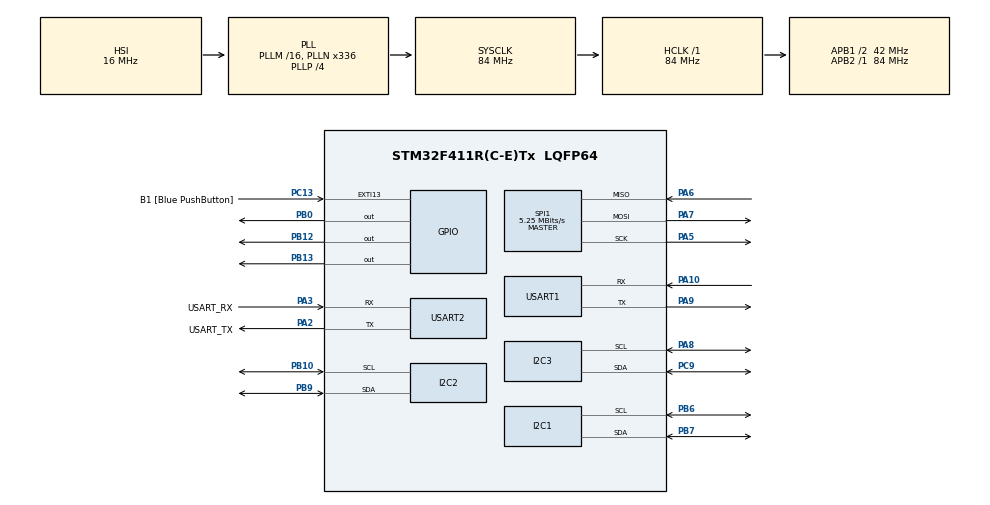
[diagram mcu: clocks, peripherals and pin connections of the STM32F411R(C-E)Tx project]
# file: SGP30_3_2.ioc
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Mcu.Family=STM32F4
Mcu.Name=STM32F411R(C-E)Tx
Mcu.Package=LQFP64
NVIC.PriorityGroup=NVIC_PRIORITYGROUP_0
NVIC.USART1_IRQn=true\:0\:0\:false\:false\:true\:true\:true\:true
PA10.Mode=Asynchronous
PA10.Signal=USART1_RX
PA13.GPIO_Label=TMS
PA13.Mode=Serial_Wire
PA13.Signal=SYS_JTMS-SWDIO
PA14.GPIO_Label=TCK
PA14.Mode=Serial_Wire
PA14.Signal=SYS_JTCK-SWCLK
PA2.GPIO_Label=USART_TX
PA2.Mode=Asynchronous
PA2.Signal=USART2_TX
PA3.GPIO_Label=USART_RX
PA3.Mode=Asynchronous
PA3.Signal=USART2_RX
PA5.Mode=Full_Duplex_Master
PA5.Signal=SPI1_SCK
PA6.Mode=Full_Duplex_Master
PA6.Signal=SPI1_MISO
PA7.Mode=Full_Duplex_Master
PA7.Signal=SPI1_MOSI
PA8.Mode=I2C
PA8.Signal=I2C3_SCL
PA9.Mode=Asynchronous
PA9.Signal=USART1_TX
PB0.Signal=GPIO_Output
PB10.Mode=I2C
PB10.Signal=I2C2_SCL
PB12.PinState=GPIO_PIN_SET
PB12.Signal=GPIO_Output
PB13.PinState=GPIO_PIN_SET
PB13.Signal=GPIO_Output
PB6.Mode=I2C
PB6.Signal=I2C1_SCL
PB7.Mode=I2C
PB7.Signal=I2C1_SDA
PB9.Mode=I2C
PB9.Signal=I2C2_SDA
PC13-ANTI_TAMP.GPIO_Label=B1 [Blue PushButton]
PC13-ANTI_TAMP.GPIO_ModeDefaultEXTI=GPIO_MODE_IT_FALLING
PC13-ANTI_TAMP.Signal=GPXTI13
PC14-OSC32_IN.Mode=LSE-External-Oscillator
PC14-OSC32_IN.Signal=RCC_OSC32_IN
PC15-OSC32_OUT.Mode=LSE-External-Oscillator
PC15-OSC32_OUT.Signal=RCC_OSC32_OUT
PC9.Mode=I2C
PC9.Signal=I2C3_SDA
PH0\ -\ OSC_IN.Mode=HSE-External-Clock-Source
PH0\ -\ OSC_IN.Signal=RCC_OSC_IN
PH1\ -\ OSC_OUT.Mode=HSE-External-Clock-Source
PH1\ -\ OSC_OUT.Signal=RCC_OSC_OUT
ProjectManager.HeapSize=0x200
ProjectManager.StackSize=0x400
ProjectManager.TargetToolchain=STM32CubeIDE
RCC.48MHZClocksFreq_Value=84000000
RCC.AHBFreq_Value=84000000
RCC.APB1CLKDivider=RCC_HCLK_DIV2
RCC.APB1Freq_Value=42000000
RCC.APB1TimFreq_Value=84000000
RCC.APB2Freq_Value=84000000
RCC.APB2TimFreq_Value=84000000
RCC.CortexFreq_Value=84000000
RCC.FLatency-AdvancedSettings=FLASH_LATENCY_2
RCC.HCLKFreq_Value=84000000
RCC.HSE_VALUE=8000000
RCC.HSI_VALUE=16000000
RCC.PLLN=336
RCC.PLLP=RCC_PLLP_DIV4
RCC.SYSCLKFreq_VALUE=84000000
RCC.SYSCLKSource=RCC_SYSCLKSOURCE_PLLCLK
RCC.VCOOutputFreq_Value=336000000
SPI1.BaudRatePrescaler=SPI_BAUDRATEPRESCALER_16
SPI1.CalculateBaudRate=5.25 MBits/s
SPI1.Direction=SPI_DIRECTION_2LINES
SPI1.Mode=SPI_MODE_MASTER
SPI1.VirtualType=VM_MASTER
USART1.VirtualMode=VM_ASYNC
USART2.VirtualMode=VM_ASYNC
board=NUCLEO-F411RE

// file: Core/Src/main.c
/* USER CODE BEGIN Header */
/**
  ******************************************************************************
  * @file           : main.c
  * @brief          : SGP30 x3 (3개의 독립 I2C 비트뱅) 테스트
  ******************************************************************************
  * @attention
  *
  * Copyright (c) 2026 STMicroelectronics.
  * All rights reserved.
  *
  * This software is licensed under terms that can be found in the LICENSE file
  * in the root directory of this software component.
  * If no LICENSE file comes with this software, it is provided AS-IS.
  *
  ******************************************************************************  *
  * - SGP30는 I2C 주소가 모두 0x58로 동일
  *  - 한 버스에 여러개 불가 → GPIO I2C 라인을 3세트로 분리해서 각 1개씩 연결
  *
  *  UART2로 출력(PC Serial)
  *
  * 핀맵(사용자 지정)
  *  SGP30 #1 : SCL=PB6,  SDA=PB7
  *  SGP30 #2 : SCL=PB10, SDA=PB3
  *  SGP30 #3 : SCL=PA8,  SDA=PC9
  *
  * CubeMX 주의:
  *  - PB3는 SWO랑 충돌 가능 → SYS->Debug는 Serial Wire만(Trace 끄기)
  ******************************************************************************  ******************************************************************************
  */
/* USER CODE END Header */
#include "main.h"

/* USER CODE BEGIN Includes */
#include <stdio.h>
#include <string.h>
#include "sensirion_common.h"
#include "sgp30.h"
#include "RC522.h"

/* USER CODE END Includes */

/* USER CODE BEGIN PTD */
typedef struct {
  GPIO_TypeDef* scl_port;
  uint16_t      scl_pin;
  GPIO_TypeDef* sda_port;
  uint16_t      sda_pin;
} SoftI2C;

/* USER CODE END PTD */

/* USER CODE BEGIN PD */
#ifndef STATUS_OK
#define STATUS_OK 0
#endif

#ifndef STATUS_FAIL
#define STATUS_FAIL (-1)
#endif

/* SGP30 7-bit 주소 */
#define SGP30_ADDR_7BIT  (0x58)

/* I2C 속도(대략) 조절 */
#define I2C_DELAY_US     (5)   // 5us 정도면 대략 100kHz 근처(환경에 따라 다름)
#define SGP_INTERVAL     1000

/* [릴레이 핀 설정] */
#define RELAY_GPIO_PORT GPIOB
#define RELAY_GPIO_PIN  GPIO_PIN_0
#define RELAY_ACTIVE_LOW 1
/* USER CODE END PD */

I2C_HandleTypeDef hi2c1;
I2C_HandleTypeDef hi2c2;
I2C_HandleTypeDef hi2c3;

SPI_HandleTypeDef hspi1;

UART_HandleTypeDef huart1;
UART_HandleTypeDef huart2;

/* USER CODE BEGIN PV */

/* RFID용 변수 (사용자 정의 유지) */
uint8_t status;
uint8_t str[16]; // MAX_LEN
uint8_t sNum[5];

/* SGP30 타이머 변수 */
static uint32_t last_sgp_time = 0;

/* [릴레이/알람용 변수 추가] */
typedef enum { ALARM_OFF=0, ALARM_WARNING, ALARM_CRITICAL } AlarmLevel;
static volatile AlarmLevel g_alarm = ALARM_OFF;
static volatile uint32_t g_hold_until = 0;

/* [UART 수신 버퍼 추가] */
static uint8_t rx_ch;
static char rx_line[256];
static volatile uint16_t rx_idx = 0;
/* USER CODE END PV */

void SystemClock_Config(void);
static void MX_GPIO_Init(void);
static void MX_USART2_UART_Init(void);
static void MX_I2C1_Init(void);
static void MX_USART1_UART_Init(void);
static void MX_I2C3_Init(void);
static void MX_I2C2_Init(void);
static void MX_SPI1_Init(void);
/* USER CODE BEGIN PFP */
extern void i2c_select_bus(uint8_t bus_id);
static void esp_send_line(const char *s);
extern int8_t sensirion_i2c_init(void);

/* [릴레이 함수 선언] */
static void relay_on(void);
static void relay_off(void);
static void alarm_set(AlarmLevel lv, uint32_t hold_ms);
static void alarm_update(void);
static void handle_alert_json_line(const char* line);

/* USER CODE END PFP */

/* USER CODE BEGIN 0 */
static void send_access_request_uart1(uint8_t *uid)
{
    char payload[128];
    sprintf(payload, "{\"uid\":[%d,%d,%d,%d],\"access_point\":\"ew1\"}\n",
            uid[0], uid[1], uid[2], uid[3]);
    HAL_UART_Transmit(&huart1, (uint8_t *)payload, strlen(payload), 100);
}

static void send_env_data_uart1(int zone, uint16_t tvoc, uint16_t eco2)
{
    char payload[128];
    sprintf(payload, "{\"type\":\"sgp\",\"zone\":\"zone_%d\",\"tvoc\":%u,\"eco2\":%u}\n",
            zone, tvoc, eco2);
    HAL_UART_Transmit(&huart1, (uint8_t *)payload, strlen(payload), 100);
}
/* USER CODE END 0 */

int main(void)
{

  /* MCU Configuration--------------------------------------------------------*/

  /* Reset of all peripherals, Initializes the Flash interface and the Systick. */
  HAL_Init();

  /* Configure the system clock */
  SystemClock_Config();

  /* Initialize all configured peripherals */
  MX_GPIO_Init();
  MX_USART2_UART_Init();
  MX_I2C1_Init();
  MX_USART1_UART_Init();
  MX_I2C3_Init();
  MX_I2C2_Init();
  MX_SPI1_Init();
  /* USER CODE BEGIN 2 */

  // 1. [릴레이 초기화 및 부팅 테스트]
    relay_off();
    // UART 수신 인터럽트 시작 (ESP8266 -> STM32 알람 수신용)
    HAL_UART_Receive_IT(&huart1, &rx_ch, 1);

    // 부팅 확인용 깜빡임 (0.5초)
    relay_on();
    HAL_Delay(500);
    relay_off();

//  uint8_t ver = Read_MFRC522(0x37);
//    printf("RC522 Version: 0x%02X (Expected: 0x92 or 0x91)\r\n", ver);
  printf("\r\n=== Board #2 Start ===\r\n");

  MFRC522_Init();
  printf("RC522 Initialized.\r\n");

  sensirion_i2c_init();
  for(uint8_t i=1; i<=3; i++) {
        printf("Init SGP30 #%d ... ", i);
        i2c_select_bus(i);
        HAL_Delay(50);

        if (sgp_probe() == STATUS_OK) {
            if (sgp_iaq_init() == STATUS_OK) printf("OK!\r\n");
            else printf("Init Fail\r\n");
        } else {
            printf("Not Found\r\n");
        }
        HAL_Delay(500);
  }
  last_sgp_time = HAL_GetTick();
  char buf[64];
  /* USER CODE END 2 */

  /* Infinite loop */
  /* USER CODE BEGIN WHILE */
  while (1)
  {
	  // ==========================================
	      // TASK 0: 릴레이(경광등) 패턴 업데이트 [추가됨]
	      // ==========================================
	      alarm_update();

	  // ========================================================
		// [PART 1] RFID 카드 인식 (기존 로직 유지)
		// ========================================================
		// 1) 카드 요청
		status = MFRC522_Request(PICC_REQIDL, str);
		if (status == MI_OK) {
			// 2) 충돌 방지 및 UID 추출
			status = MFRC522_Anticoll(str);
			if (status == MI_OK) {

				// UID 가져오기
				uint8_t u0 = str[0], u1 = str[1], u2 = str[2], u3 = str[3];

				// 3) 같은 카드 연속 인식 방지 (쿨다운 1.5초)
				static uint8_t last_uid4[4] = {0};
				static uint32_t last_rfid_tick = 0;
				uint32_t now = HAL_GetTick();

				int same = (memcmp(str, last_uid4, 4) == 0);
				if (!same || (now - last_rfid_tick) > 1500) {

					// 새로운 카드거나 쿨다운 지남 -> 전송
					memcpy(last_uid4, str, 4);
					last_rfid_tick = now;

					// PC 출력
					printf("[RFID] UID: %d %d %d %d\r\n", u0, u1, u2, u3);

					// ESP 전송 (JSON)
					char payload[128];
					sprintf(payload, "{\"uid\":[%d,%d,%d,%d],\"access_point\":\"ew1\"}\n", u0, u1, u2, u3);
					esp_send_line(payload);
				}
			}
		}

		// ========================================================
		// [PART 2] SGP30 가스 센서 (1초 주기 실행)
		// ========================================================
		if (HAL_GetTick() - last_sgp_time >= SGP_INTERVAL) {
			last_sgp_time = HAL_GetTick();

			u16 tvoc, eco2;
			s16 err;
			char json[128];

			// 센서 1, 2, 3 순차 측정 (4~6이 아니라 1~3이 맞음)
			for(uint8_t i=1; i<=3; i++) {
				i2c_select_bus(i);

				err = sgp_measure_iaq_blocking_read(&tvoc, &eco2);

				if (err == STATUS_OK) {
					// PC 로그
					int zone_num = i+3;
					printf("[SGP #%d] TVOC: %d, eCO2: %d\r\n", zone_num, tvoc, eco2);

					// ESP 전송
					snprintf(json, sizeof(json),
							 "{\"type\":\"sgp\",\"zone\":\"zone_%d\",\"tvoc\":%u,\"eco2\":%u}",
							 zone_num, tvoc, eco2);
					esp_send_line(json);
				} else {
					printf("[SGP #%d] Read Error\r\n", i);
				}
				// 센서 스위칭 안정화 딜레이 (너무 길면 RFID 둔해짐)
				HAL_Delay(50);
			}
		}

		// 루프 전체 속도 조절 (너무 빠르면 과부하)
		HAL_Delay(10);
    /* USER CODE END WHILE */

  }
}

void SystemClock_Config(void)
{
  RCC_OscInitTypeDef RCC_OscInitStruct = {0};
  RCC_ClkInitTypeDef RCC_ClkInitStruct = {0};

  /** Configure the main internal regulator output voltage
  */
  __HAL_RCC_PWR_CLK_ENABLE();
  __HAL_PWR_VOLTAGESCALING_CONFIG(PWR_REGULATOR_VOLTAGE_SCALE1);

  /** Initializes the RCC Oscillators according to the specified parameters
  * in the RCC_OscInitTypeDef structure.
  */
  RCC_OscInitStruct.OscillatorType = RCC_OSCILLATORTYPE_HSI;
  RCC_OscInitStruct.HSIState = RCC_HSI_ON;
  RCC_OscInitStruct.HSICalibrationValue = RCC_HSICALIBRATION_DEFAULT;
  RCC_OscInitStruct.PLL.PLLState = RCC_PLL_ON;
  RCC_OscInitStruct.PLL.PLLSource = RCC_PLLSOURCE_HSI;
  RCC_OscInitStruct.PLL.PLLM = 16;
  RCC_OscInitStruct.PLL.PLLN = 336;
  RCC_OscInitStruct.PLL.PLLP = RCC_PLLP_DIV4;
  RCC_OscInitStruct.PLL.PLLQ = 4;
  if (HAL_RCC_OscConfig(&RCC_OscInitStruct) != HAL_OK)
  {
    Error_Handler();
  }

  /** Initializes the CPU, AHB and APB buses clocks
  */
  RCC_ClkInitStruct.ClockType = RCC_CLOCKTYPE_HCLK|RCC_CLOCKTYPE_SYSCLK
                              |RCC_CLOCKTYPE_PCLK1|RCC_CLOCKTYPE_PCLK2;
  RCC_ClkInitStruct.SYSCLKSource = RCC_SYSCLKSOURCE_PLLCLK;
  RCC_ClkInitStruct.AHBCLKDivider = RCC_SYSCLK_DIV1;
  RCC_ClkInitStruct.APB1CLKDivider = RCC_HCLK_DIV2;
  RCC_ClkInitStruct.APB2CLKDivider = RCC_HCLK_DIV1;

  if (HAL_RCC_ClockConfig(&RCC_ClkInitStruct, FLASH_LATENCY_2) != HAL_OK)
  {
    Error_Handler();
  }
}

static void MX_I2C1_Init(void)
{

  hi2c1.Instance = I2C1;
  hi2c1.Init.ClockSpeed = 100000;
  hi2c1.Init.DutyCycle = I2C_DUTYCYCLE_2;
  hi2c1.Init.OwnAddress1 = 0;
  hi2c1.Init.AddressingMode = I2C_ADDRESSINGMODE_7BIT;
  hi2c1.Init.DualAddressMode = I2C_DUALADDRESS_DISABLE;
  hi2c1.Init.OwnAddress2 = 0;
  hi2c1.Init.GeneralCallMode = I2C_GENERALCALL_DISABLE;
  hi2c1.Init.NoStretchMode = I2C_NOSTRETCH_DISABLE;
  if (HAL_I2C_Init(&hi2c1) != HAL_OK)
  {
    Error_Handler();
  }

}

static void MX_I2C2_Init(void)
{

  hi2c2.Instance = I2C2;
  hi2c2.Init.ClockSpeed = 100000;
  hi2c2.Init.DutyCycle = I2C_DUTYCYCLE_2;
  hi2c2.Init.OwnAddress1 = 0;
  hi2c2.Init.AddressingMode = I2C_ADDRESSINGMODE_7BIT;
  hi2c2.Init.DualAddressMode = I2C_DUALADDRESS_DISABLE;
  hi2c2.Init.OwnAddress2 = 0;
  hi2c2.Init.GeneralCallMode = I2C_GENERALCALL_DISABLE;
  hi2c2.Init.NoStretchMode = I2C_NOSTRETCH_DISABLE;
  if (HAL_I2C_Init(&hi2c2) != HAL_OK)
  {
    Error_Handler();
  }

}

static void MX_I2C3_Init(void)
{

  hi2c3.Instance = I2C3;
  hi2c3.Init.ClockSpeed = 100000;
  hi2c3.Init.DutyCycle = I2C_DUTYCYCLE_2;
  hi2c3.Init.OwnAddress1 = 0;
  hi2c3.Init.AddressingMode = I2C_ADDRESSINGMODE_7BIT;
  hi2c3.Init.DualAddressMode = I2C_DUALADDRESS_DISABLE;
  hi2c3.Init.OwnAddress2 = 0;
  hi2c3.Init.GeneralCallMode = I2C_GENERALCALL_DISABLE;
  hi2c3.Init.NoStretchMode = I2C_NOSTRETCH_DISABLE;
  if (HAL_I2C_Init(&hi2c3) != HAL_OK)
  {
    Error_Handler();
  }

}

static void MX_SPI1_Init(void)
{

  /* SPI1 parameter configuration*/
  hspi1.Instance = SPI1;
  hspi1.Init.Mode = SPI_MODE_MASTER;
  hspi1.Init.Direction = SPI_DIRECTION_2LINES;
  hspi1.Init.DataSize = SPI_DATASIZE_8BIT;
  hspi1.Init.CLKPolarity = SPI_POLARITY_LOW;
  hspi1.Init.CLKPhase = SPI_PHASE_1EDGE;
  hspi1.Init.NSS = SPI_NSS_SOFT;
  hspi1.Init.BaudRatePrescaler = SPI_BAUDRATEPRESCALER_16;
  hspi1.Init.FirstBit = SPI_FIRSTBIT_MSB;
  hspi1.Init.TIMode = SPI_TIMODE_DISABLE;
  hspi1.Init.CRCCalculation = SPI_CRCCALCULATION_DISABLE;
  hspi1.Init.CRCPolynomial = 10;
  if (HAL_SPI_Init(&hspi1) != HAL_OK)
  {
    Error_Handler();
  }

}

static void MX_USART1_UART_Init(void)
{

  huart1.Instance = USART1;
  huart1.Init.BaudRate = 115200;
  huart1.Init.WordLength = UART_WORDLENGTH_8B;
  huart1.Init.StopBits = UART_STOPBITS_1;
  huart1.Init.Parity = UART_PARITY_NONE;
  huart1.Init.Mode = UART_MODE_TX_RX;
  huart1.Init.HwFlowCtl = UART_HWCONTROL_NONE;
  huart1.Init.OverSampling = UART_OVERSAMPLING_16;
  if (HAL_UART_Init(&huart1) != HAL_OK)
  {
    Error_Handler();
  }

}

static void MX_USART2_UART_Init(void)
{

  huart2.Instance = USART2;
  huart2.Init.BaudRate = 115200;
  huart2.Init.WordLength = UART_WORDLENGTH_8B;
  huart2.Init.StopBits = UART_STOPBITS_1;
  huart2.Init.Parity = UART_PARITY_NONE;
  huart2.Init.Mode = UART_MODE_TX_RX;
  huart2.Init.HwFlowCtl = UART_HWCONTROL_NONE;
  huart2.Init.OverSampling = UART_OVERSAMPLING_16;
  if (HAL_UART_Init(&huart2) != HAL_OK)
  {
    Error_Handler();
  }
  /* USER CODE BEGIN USART2_Init 2 */
  HAL_NVIC_SetPriority(USART1_IRQn, 0, 0);
  HAL_NVIC_EnableIRQ(USART1_IRQn);
  /* USER CODE END USART2_Init 2 */

}

static void MX_GPIO_Init(void)
{
  GPIO_InitTypeDef GPIO_InitStruct = {0};

  /* GPIO Ports Clock Enable */
  __HAL_RCC_GPIOC_CLK_ENABLE();
  __HAL_RCC_GPIOH_CLK_ENABLE();
  __HAL_RCC_GPIOA_CLK_ENABLE();
  __HAL_RCC_GPIOB_CLK_ENABLE();

  /*Configure GPIO pin Output Level */
  HAL_GPIO_WritePin(GPIOB, GPIO_PIN_0, GPIO_PIN_RESET);

  /*Configure GPIO pin Output Level */
  HAL_GPIO_WritePin(GPIOB, GPIO_PIN_12|GPIO_PIN_13, GPIO_PIN_SET);

  /*Configure GPIO pin : B1_Pin */
  GPIO_InitStruct.Pin = B1_Pin;
  GPIO_InitStruct.Mode = GPIO_MODE_IT_FALLING;
  GPIO_InitStruct.Pull = GPIO_NOPULL;
  HAL_GPIO_Init(B1_GPIO_Port, &GPIO_InitStruct);

  /*Configure GPIO pins : PB0 PB12 PB13 */
  GPIO_InitStruct.Pin = GPIO_PIN_0|GPIO_PIN_12|GPIO_PIN_13;
  GPIO_InitStruct.Mode = GPIO_MODE_OUTPUT_PP;
  GPIO_InitStruct.Pull = GPIO_NOPULL;
  GPIO_InitStruct.Speed = GPIO_SPEED_FREQ_LOW;
  HAL_GPIO_Init(GPIOB, &GPIO_InitStruct);

}

/* USER CODE BEGIN 4 */
/* [추가] printf 출력을 UART2로 보내주는 함수 */
int _write(int file, char *ptr, int len)
{
  HAL_UART_Transmit(&huart2, (uint8_t*)ptr, len, 100);
  return len;
}

static void esp_send_line(const char *s)
{
    HAL_UART_Transmit(&huart1, (uint8_t*)s, strlen(s), 100);
    uint8_t nl = '\n';
    HAL_UART_Transmit(&huart1, &nl, 1, 10);
}
// [릴레이 제어 함수]
static void relay_on(void) {
    HAL_GPIO_WritePin(RELAY_GPIO_PORT, RELAY_GPIO_PIN, GPIO_PIN_SET);
}

static void relay_off(void) {
    HAL_GPIO_WritePin(RELAY_GPIO_PORT, RELAY_GPIO_PIN, GPIO_PIN_RESET);
}

// [알람 설정]
static void alarm_set(AlarmLevel lv, uint32_t hold_ms)
{
    uint32_t now = HAL_GetTick();
    if (lv >= g_alarm) {
        g_alarm = lv;
        g_hold_until = now + hold_ms;
    }
}

// [JSON 파싱]
static void handle_alert_json_line(const char* line)
{
    if (strstr(line, "critical")) {
        alarm_set(ALARM_CRITICAL, 10000);
    }
    else if (strstr(line, "warning")) {
        alarm_set(ALARM_WARNING, 10000);
    }
}

// [알람 업데이트]
static void alarm_update(void)
{
    uint32_t now = HAL_GetTick();

    // 시간 종료
    if (g_alarm != ALARM_OFF && (int32_t)(now - g_hold_until) > 0) {
        g_alarm = ALARM_OFF;
        relay_off();
        return;
    }

    // 알람 없음
    if (g_alarm == ALARM_OFF) {
        relay_off();
        return;
    }

    // 패턴 깜빡임
    if (g_alarm == ALARM_WARNING) {
        // 500ms 주기 (느리게)
        if ((now / 500) % 2 == 0) relay_on();
        else relay_off();
    } else { // CRITICAL
        // 100ms 주기 (빠르게)
        if ((now / 100) % 2 == 0) relay_on();
        else relay_off();
    }
}

// [UART 수신 인터럽트 콜백]
void HAL_UART_RxCpltCallback(UART_HandleTypeDef *huart)
{
  if (huart->Instance != USART1) return;

  if (rx_ch == '\n') {
    rx_line[rx_idx] = '\0';
    rx_idx = 0;

    if (strlen(rx_line) > 2) {
      handle_alert_json_line(rx_line);
    }
  } else {
    if (rx_idx < sizeof(rx_line) - 1) {
      rx_line[rx_idx++] = (char)rx_ch;
    } else {
      rx_idx = 0;
    }
  }

  HAL_UART_Receive_IT(&huart1, &rx_ch, 1);
}
/* USER CODE END 4 */

void Error_Handler(void)
{
  __disable_irq();
  while (1)
  {
  }
}
